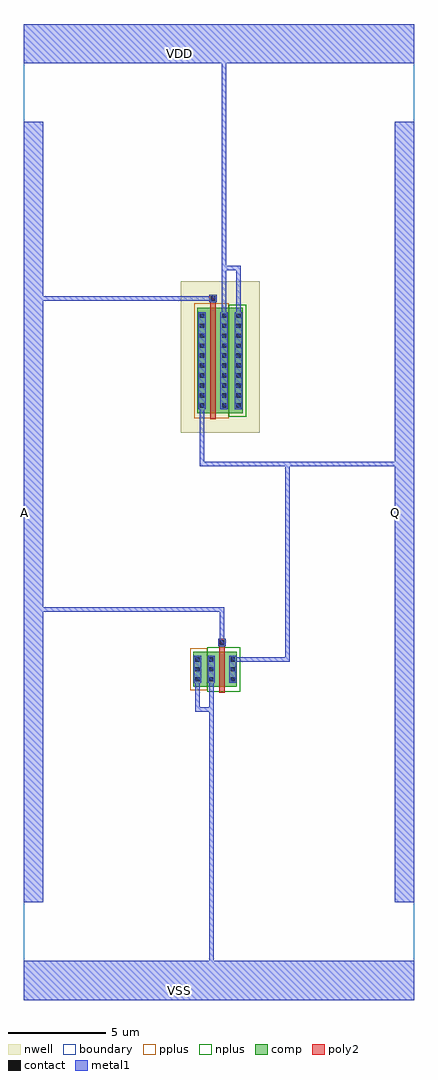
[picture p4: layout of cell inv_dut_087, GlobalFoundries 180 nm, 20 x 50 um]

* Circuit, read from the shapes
.subckt inv_dut_087 A Q VDD VSS
XM1 Q A VSS VSS nfet_03v3 w=1.8u l=0.3u
XM2 VDD A Q VDD pfet_03v3 w=5.4u l=0.3u
.ends

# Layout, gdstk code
from math import pi, radians
import gdstk
lib = gdstk.Library(unit=1e-6, precision=1e-09)
def R(c, l, rs):  # rectangles x0, y0, x1, y1
    for r in rs: c.add(gdstk.rectangle(r[:2], r[2:], *l))
def A(c, l, x, y, w, h, nx, ny, dx, dy):  # array of equal rectangles
    R(c, l, [(x+i*dx, y+j*dy, x+i*dx+w, y+j*dy+h) for i in range(nx) for j in range(ny)])
def P(c, l, *ps):  # polygons
    for p in ps: c.add(gdstk.Polygon(p, *l))
boundary = (0, 0)
nwell = (21, 0)
comp = (22, 0)
poly2 = (30, 0)
pplus = (31, 0)
nplus = (32, 0)
contact = (33, 0)
metal1 = (34, 0)

nfet_72 = lib.new_cell('nfet$72')
R(nfet_72, comp, [(-0.42,0,1.81,1.8)])
P(nfet_72, poly2, [(0.19,-0.3),(0.19,2.1),(0.16,2.1),(0.16,2.46),(0.52,2.46),(0.52,2.1),(0.49,2.1),(0.49,-0.3)])
R(nfet_72, pplus, [(1.1,-0.17,1.98,1.97)])
R(nfet_72, nplus, [(-0.59,-0.24,1.1,2.04)])
A(nfet_72, contact, -0.32, 0.28, 0.22, 0.22, 1, 3, 0, 0.51)
A(nfet_72, contact, 0.78, 0.28, 0.22, 0.22, 1, 3, 0, 0.51)
A(nfet_72, contact, 1.49, 0.28, 0.22, 0.22, 1, 3, 0, 0.51)
R(nfet_72, contact, [(0.23,2.17,0.45,2.39)])
R(nfet_72, metal1, [(-0.4,0.2,-0.02,1.6), (0.7,0.2,1.08,1.6), (1.41,0.2,1.79,1.6), (0.15,2.09,0.53,2.47)])

pfet_70 = lib.new_cell('pfet$70')
R(pfet_70, nwell, [(-1.32,-0.99,2.73,6.77)])
R(pfet_70, comp, [(-0.46,0,1.87,5.4)])
P(pfet_70, poly2, [(0.19,-0.3),(0.19,5.7),(0.15,5.7),(0.15,6.08),(0.53,6.08),(0.53,5.7),(0.49,5.7),(0.49,-0.3)])
R(pfet_70, pplus, [(-0.63,-0.24,1.14,5.64)])
R(pfet_70, nplus, [(1.14,-0.17,2.04,5.57)])
A(pfet_70, contact, -0.34, 0.295, 0.22, 0.22, 1, 10, 0, 0.51)
A(pfet_70, contact, 0.8, 0.295, 0.22, 0.22, 1, 10, 0, 0.51)
A(pfet_70, contact, 1.53, 0.295, 0.22, 0.22, 1, 10, 0, 0.51)
R(pfet_70, contact, [(0.23,5.78,0.45,6)])
R(pfet_70, metal1, [(-0.42,0.215,-0.04,5.185), (0.72,0.215,1.1,5.185), (1.45,0.215,1.83,5.185), (0.15,5.7,0.53,6.08)])

inv_dut_087 = lib.new_cell('inv_dut_087')
R(inv_dut_087, boundary, [(-10,-25,10,25)])
R(inv_dut_087, metal1, [(-10,-25,10,-23), (-10,-20,-9,20), (9,-20,10,20), (-10,23,10,25)])
inv_dut_087.add(gdstk.FlexPath([(-0.395,-8.555),(-0.395,-24.005),(-0.395,-24.005),(-0.395,-24.47)], 0.23, ends="flush", simple_path=True, layer=34, datatype=0))  # metal1
inv_dut_087.add(gdstk.FlexPath([(-0.305,10.945),(-9.6,10.945)], 0.23, ends="flush", simple_path=True, layer=34, datatype=0))  # metal1
inv_dut_087.add(gdstk.FlexPath([(-0.875,5.46),(-0.875,2.46),(9.5,2.46)], 0.23, ends="flush", simple_path=True, layer=34, datatype=0))  # metal1
inv_dut_087.add(gdstk.FlexPath([(-1.105,-8.575),(-1.105,-10.115),(-0.4,-10.115)], 0.23, ends="flush", simple_path=True, layer=34, datatype=0))  # metal1
inv_dut_087.add(gdstk.FlexPath([(0.265,10.05),(0.265,23.35)], 0.23, ends="flush", simple_path=True, layer=34, datatype=0))  # metal1
inv_dut_087.add(gdstk.FlexPath([(0.995,10.045),(0.995,12.5),(0.25,12.5)], 0.23, ends="flush", simple_path=True, layer=34, datatype=0))  # metal1
inv_dut_087.add(gdstk.FlexPath([(0.155,-6.67),(0.155,-5),(-9.45,-5),(-9.45,-5)], 0.23, ends="flush", simple_path=True, layer=34, datatype=0))  # metal1
inv_dut_087.add(gdstk.FlexPath([(0.705,-7.55),(3.5,-7.55),(3.5,2.46)], 0.23, ends="flush", simple_path=True, layer=34, datatype=0))  # metal1
inv_dut_087.add(gdstk.Reference(nfet_72, (0.495,-8.96), rotation=pi, x_reflection=True))
inv_dut_087.add(gdstk.Reference(pfet_70, (-0.645,5.055)))
inv_dut_087.add(gdstk.Label('VDD', (-2,23.5), layer=34, texttype=10))
inv_dut_087.add(gdstk.Label('VSS', (-2,-24.5), layer=34, texttype=10))
inv_dut_087.add(gdstk.Label('A', (-9.97,0), layer=34, texttype=10))
inv_dut_087.add(gdstk.Label('Q', (9.03,0), layer=34, texttype=10))

lib.write_gds('inv_dut_087.gds')
